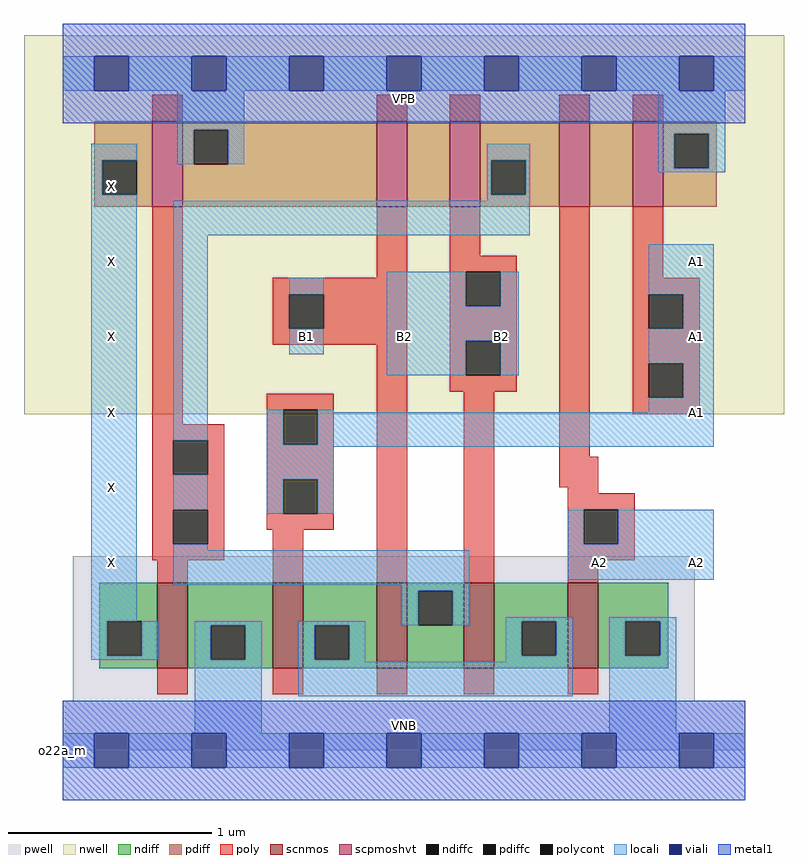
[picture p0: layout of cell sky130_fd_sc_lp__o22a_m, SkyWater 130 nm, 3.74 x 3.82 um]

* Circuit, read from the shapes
.subckt sky130_fd_sc_lp__o22a_m A1 A2 B1 B2 VGND VNB VPB VPWR X
XM1 VGND n1 X VNB sky130_fd_pr__nfet_01v8 w=0.42 l=0.15
XM2 n2 A1 VGND VNB sky130_fd_pr__nfet_01v8 w=0.42 l=0.15
XM3 n1 B1 n2 VNB sky130_fd_pr__nfet_01v8 w=0.42 l=0.15
XM4 n2 B2 n1 VNB sky130_fd_pr__nfet_01v8 w=0.42 l=0.15
XM5 VGND A2 n2 VNB sky130_fd_pr__nfet_01v8 w=0.42 l=0.15
XM6 VPWR n1 X VPB sky130_fd_pr__pfet_01v8_hvt w=0.42 l=0.15
XM7 n3 B1 VPWR VPB sky130_fd_pr__pfet_01v8_hvt w=0.42 l=0.15
XM8 n1 B2 n3 VPB sky130_fd_pr__pfet_01v8_hvt w=0.42 l=0.15
XM9 n4 A2 n1 VPB sky130_fd_pr__pfet_01v8_hvt w=0.42 l=0.15
XM10 VPWR A1 n4 VPB sky130_fd_pr__pfet_01v8_hvt w=0.42 l=0.15
.ends

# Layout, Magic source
magic
tech sky130A
magscale 1 2
<< nwell >>
rect -38 331 710 704
<< pwell >>
rect 10 49 622 191
rect 0 0 672 49
<< scnmos >>
rect 93 81 123 165
rect 207 81 237 165
rect 309 81 339 165
rect 395 81 425 165
rect 497 81 527 165
<< scpmoshvt >>
rect 88 535 118 619
rect 309 535 339 619
rect 381 535 411 619
rect 489 535 519 619
rect 561 535 591 619
<< ndiff >>
rect 36 127 93 165
rect 36 93 44 127
rect 78 93 93 127
rect 36 81 93 93
rect 123 123 207 165
rect 123 89 146 123
rect 180 89 207 123
rect 123 81 207 89
rect 237 123 309 165
rect 237 89 248 123
rect 282 89 309 123
rect 237 81 309 89
rect 339 157 395 165
rect 339 123 350 157
rect 384 123 395 157
rect 339 81 395 123
rect 425 127 497 165
rect 425 93 452 127
rect 486 93 497 127
rect 425 81 497 93
rect 527 127 596 165
rect 527 93 554 127
rect 588 93 596 127
rect 527 81 596 93
<< pdiff >>
rect 31 581 88 619
rect 31 547 39 581
rect 73 547 88 581
rect 31 535 88 547
rect 118 611 309 619
rect 118 577 129 611
rect 163 577 309 611
rect 118 535 309 577
rect 339 535 381 619
rect 411 581 489 619
rect 411 547 422 581
rect 456 547 489 581
rect 411 535 489 547
rect 519 535 561 619
rect 591 607 644 619
rect 591 573 602 607
rect 636 573 644 607
rect 591 535 644 573
<< ndiffc >>
rect 44 93 78 127
rect 146 89 180 123
rect 248 89 282 123
rect 350 123 384 157
rect 452 93 486 127
rect 554 93 588 127
<< pdiffc >>
rect 39 547 73 581
rect 129 577 163 611
rect 422 547 456 581
rect 602 573 636 607
<< poly >>
rect 88 619 118 645
rect 309 619 339 645
rect 381 619 411 645
rect 489 619 519 645
rect 561 619 591 645
rect 88 321 118 535
rect 309 465 339 535
rect 207 449 339 465
rect 207 415 223 449
rect 257 415 339 449
rect 207 399 339 415
rect 201 335 267 351
rect 88 305 159 321
rect 88 271 109 305
rect 143 271 159 305
rect 88 237 159 271
rect 88 203 109 237
rect 143 203 159 237
rect 201 301 217 335
rect 251 301 267 335
rect 201 267 267 301
rect 201 233 217 267
rect 251 233 267 267
rect 201 217 267 233
rect 88 187 159 203
rect 93 165 123 187
rect 207 165 237 217
rect 309 165 339 399
rect 381 487 411 535
rect 381 471 447 487
rect 381 437 397 471
rect 431 437 447 471
rect 381 403 447 437
rect 381 369 397 403
rect 431 369 447 403
rect 381 353 447 369
rect 395 165 425 353
rect 489 289 519 535
rect 561 465 591 535
rect 561 449 627 465
rect 561 415 577 449
rect 611 415 627 449
rect 561 381 627 415
rect 561 347 577 381
rect 611 347 627 381
rect 561 331 627 347
rect 489 259 527 289
rect 497 253 527 259
rect 497 237 563 253
rect 497 203 513 237
rect 547 203 563 237
rect 497 187 563 203
rect 497 165 527 187
rect 93 55 123 81
rect 207 55 237 81
rect 309 55 339 81
rect 395 55 425 81
rect 497 55 527 81
<< polycont >>
rect 223 415 257 449
rect 109 271 143 305
rect 109 203 143 237
rect 217 301 251 335
rect 217 233 251 267
rect 397 437 431 471
rect 397 369 431 403
rect 577 415 611 449
rect 577 347 611 381
rect 513 203 547 237
<< locali >>
rect 0 649 31 683
rect 65 649 127 683
rect 161 649 223 683
rect 257 649 319 683
rect 353 649 415 683
rect 449 649 511 683
rect 545 649 607 683
rect 641 649 672 683
rect 113 611 179 649
rect 28 581 73 597
rect 28 547 39 581
rect 113 577 129 611
rect 163 577 179 611
rect 586 607 652 649
rect 418 581 460 597
rect 28 127 73 547
rect 418 547 422 581
rect 456 547 460 581
rect 586 573 602 607
rect 636 573 652 607
rect 586 569 652 573
rect 418 541 460 547
rect 109 507 460 541
rect 109 305 143 507
rect 223 449 257 465
rect 223 390 257 415
rect 319 437 397 471
rect 431 437 449 471
rect 319 403 449 437
rect 319 369 397 403
rect 431 369 449 403
rect 577 449 641 498
rect 611 415 641 449
rect 577 381 641 415
rect 611 347 641 381
rect 109 237 143 271
rect 201 301 217 335
rect 251 333 267 335
rect 577 333 641 347
rect 251 301 641 333
rect 201 299 641 301
rect 201 267 267 299
rect 201 233 217 267
rect 251 233 267 267
rect 109 197 143 203
rect 497 203 513 237
rect 547 203 641 237
rect 109 163 400 197
rect 497 168 641 203
rect 334 157 400 163
rect 28 93 44 127
rect 78 93 94 127
rect 28 89 94 93
rect 130 123 196 127
rect 130 89 146 123
rect 180 89 196 123
rect 130 17 196 89
rect 232 123 298 127
rect 334 123 350 157
rect 384 123 400 157
rect 436 127 502 131
rect 232 89 248 123
rect 282 89 298 123
rect 232 87 298 89
rect 436 93 452 127
rect 486 93 502 127
rect 436 87 502 93
rect 232 53 502 87
rect 538 127 604 131
rect 538 93 554 127
rect 588 93 604 127
rect 538 17 604 93
rect 0 -17 31 17
rect 65 -17 127 17
rect 161 -17 223 17
rect 257 -17 319 17
rect 353 -17 415 17
rect 449 -17 511 17
rect 545 -17 607 17
rect 641 -17 672 17
<< viali >>
rect 31 649 65 683
rect 127 649 161 683
rect 223 649 257 683
rect 319 649 353 683
rect 415 649 449 683
rect 511 649 545 683
rect 607 649 641 683
rect 31 -17 65 17
rect 127 -17 161 17
rect 223 -17 257 17
rect 319 -17 353 17
rect 415 -17 449 17
rect 511 -17 545 17
rect 607 -17 641 17
<< metal1 >>
rect 0 683 672 715
rect 0 649 31 683
rect 65 649 127 683
rect 161 649 223 683
rect 257 649 319 683
rect 353 649 415 683
rect 449 649 511 683
rect 545 649 607 683
rect 641 649 672 683
rect 0 617 672 649
rect 0 17 672 49
rect 0 -17 31 17
rect 65 -17 127 17
rect 161 -17 223 17
rect 257 -17 319 17
rect 353 -17 415 17
rect 449 -17 511 17
rect 545 -17 607 17
rect 641 -17 672 17
rect 0 -49 672 -17
<< labels >>
flabel pwell s 0 0 672 49 0 FreeSans 200 0 0 0 VNB
port 6 nsew ground bidirectional
flabel nwell s 0 617 672 666 0 FreeSans 200 0 0 0 VPB
port 7 nsew power bidirectional
rlabel comment s 0 0 0 0 4 o22a_m
flabel metal1 s 0 617 672 666 0 FreeSans 340 0 0 0 VPWR
port 8 nsew power bidirectional
flabel metal1 s 0 0 672 49 0 FreeSans 340 0 0 0 VGND
port 5 nsew ground bidirectional
flabel locali s 511 168 545 202 0 FreeSans 340 0 0 0 A2
port 2 nsew signal input
flabel locali s 607 168 641 202 0 FreeSans 340 0 0 0 A2
port 2 nsew signal input
flabel locali s 223 390 257 424 0 FreeSans 340 0 0 0 B1
port 3 nsew signal input
flabel locali s 319 390 353 424 0 FreeSans 340 0 0 0 B2
port 4 nsew signal input
flabel locali s 415 390 449 424 0 FreeSans 340 0 0 0 B2
port 4 nsew signal input
flabel locali s 607 316 641 350 0 FreeSans 340 0 0 0 A1
port 1 nsew signal input
flabel locali s 607 390 641 424 0 FreeSans 340 0 0 0 A1
port 1 nsew signal input
flabel locali s 607 464 641 498 0 FreeSans 340 0 0 0 A1
port 1 nsew signal input
flabel locali s 31 168 65 202 0 FreeSans 340 0 0 0 X
port 9 nsew signal output
flabel locali s 31 242 65 276 0 FreeSans 340 0 0 0 X
port 9 nsew signal output
flabel locali s 31 316 65 350 0 FreeSans 340 0 0 0 X
port 9 nsew signal output
flabel locali s 31 390 65 424 0 FreeSans 340 0 0 0 X
port 9 nsew signal output
flabel locali s 31 464 65 498 0 FreeSans 340 0 0 0 X
port 9 nsew signal output
flabel locali s 31 538 65 572 0 FreeSans 340 0 0 0 X
port 9 nsew signal output
<< properties >>
string LEFsite unit
string LEFclass CORE
string FIXED_BBOX 0 0 672 666
string GDS_FILE $PDKPATH/libs.ref/sky130_fd_sc_lp/gds/sky130_fd_sc_lp.gds
string LEFsymmetry X Y R90
string GDS_END 960382
string GDS_START 953406
<< end >>
